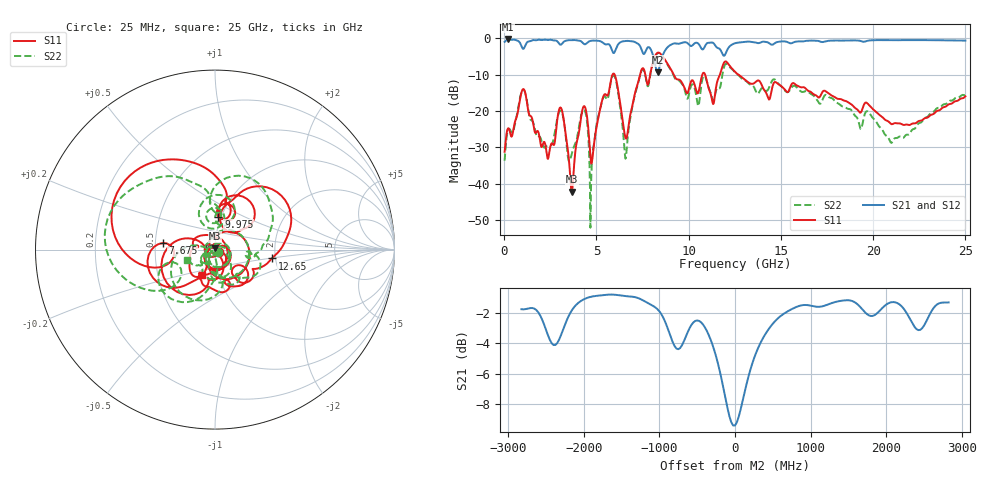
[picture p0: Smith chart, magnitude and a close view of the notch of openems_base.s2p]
! RG_s4_pwr_n4_cap2: Finite board 24 × 16 mm, via L1 → L4 through the GND/PWR pair L2/L3, four GND vias at 1 mm joined to L2 only (openings in the PWR plane L3), a capacitor between L2 and L3 2 mm away
! stackup: 4-layer 1.6 mm FR-4
! ports: 1 L1, 2 L4
! openEMS 0.37.0, staircase, base mesh (dfine 0.07 mm), 805736 cells
# Hz S RI R 50
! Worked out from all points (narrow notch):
!   1000 points, 25 MHz to 25 GHz, reference 50 ohm
!   highest |S21| = -0.28 dB at 225 MHz (marker M1); lowest = -9.4 dB at 8.325 GHz (marker M2)
!   notch at M2: 8.5 dB deep, 475 MHz wide at half that depth
!   lowest |S11| = -42.2 dB at 3.675 GHz (marker M3), VSWR 1.02, Z = 50.1 + j0.768 ohm
!   |S11| at or under -10 dB: start of sweep to 5.874 GHz; 9.188 GHz to 10.74 GHz (1.556 GHz wide, 15.6 % of centre); 12.69 GHz to end of sweep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
!   |S22| runs from -52.0 to -4.1 dB; largest |S21 - S12| = 0.0078
!   S11 on the Smith chart (normalised r, x): 25 MHz: 1.05, -0.03; 7.675 GHz: 0.55, +0.04; 9.975 GHz: 0.97, +0.37; 12.65 GHz: 1.91, -0.21; 25 GHz: 0.84, -0.24
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2.5e7  0.0232 -0.0149  0.8875 0.00553  0.8947 0.00271  0.0167 -0.0122
2.25e8  -0.0578 0.000785  0.965 -0.0856  0.9628 -0.0828  -0.0558 -0.00202
1.05e9  0.1695 -0.1054  0.6541 -0.2832  0.6587 -0.2876  0.1721 -0.0914
2.4e9  -0.0112 0.0199  0.5129 -0.7885  0.5119 -0.7962  -0.0112 0.0322
3.075e9  0.0173 -0.1092  0.2501 -0.7726  0.2459 -0.778  0.0339 -0.0945
3.675e9  0.00134 0.00766  0.0497 -0.935  0.0509 -0.9405  0.00242 0.0264
4.2e9  0.0643 -0.0654  -0.2194 -0.8626  -0.2166 -0.8589  0.0822 -0.0415
4.725e9  -0.00504 -0.0182  -0.3389 -0.855  -0.342 -0.855  0.0128 -0.00339
5.15e9  0.0459 -0.0797  -0.5449 -0.733  -0.5433 -0.7311  0.0783 -0.0526
5.875e9  -0.2114 -0.2356  -0.5375 -0.3658  -0.5372 -0.3678  -0.1046 -0.2821
6.575e9  -0.0425 -0.00724  -0.8176 -0.4021  -0.8197 -0.4022  -0.0177 -0.0133
7.675e9  -0.2919 0.0364  -0.6649 0.0134  -0.6625 0.0141  -0.2768 -0.0798
8.325e9  -0.5469 0.3136  -0.3362 0.0379  -0.3334 0.0386  -0.614 0.0875
8.35e9  -0.5268 0.3501  -0.3466 0.00744  -0.344 0.00646  -0.6089 0.1306
9.05e9  0.0401 0.3649  -0.8021 0.1332  -0.8015 0.1306  -0.0803 0.3539
9.975e9  0.0193 0.183  -0.5826 0.5994  -0.5796 0.5983  -0.0271 0.1511
1.2525e10  0.3393 -0.0274  0.0183 0.8511  0.0202 0.851  0.3128 0.1214
1.265e10  0.3167 -0.0495  0.0835 0.8601  0.0834 0.8564  0.3037 0.0878
1.6675e10  -0.0874 -0.1546  0.8912 -0.2457  0.8896 -0.2441  -0.00253 -0.1683
2.085e10  -0.000484 0.0709  -0.4174 -0.8389  -0.4182 -0.8405  -0.0377 -0.0184
2.2975e10  0.0621 -0.0533  -0.9192 -0.182  -0.9214 -0.1794  -0.0404 -0.0738
2.5e10  -0.0706 -0.142  -0.7114 0.589  -0.7097 0.5888  -0.1554 -0.0557
